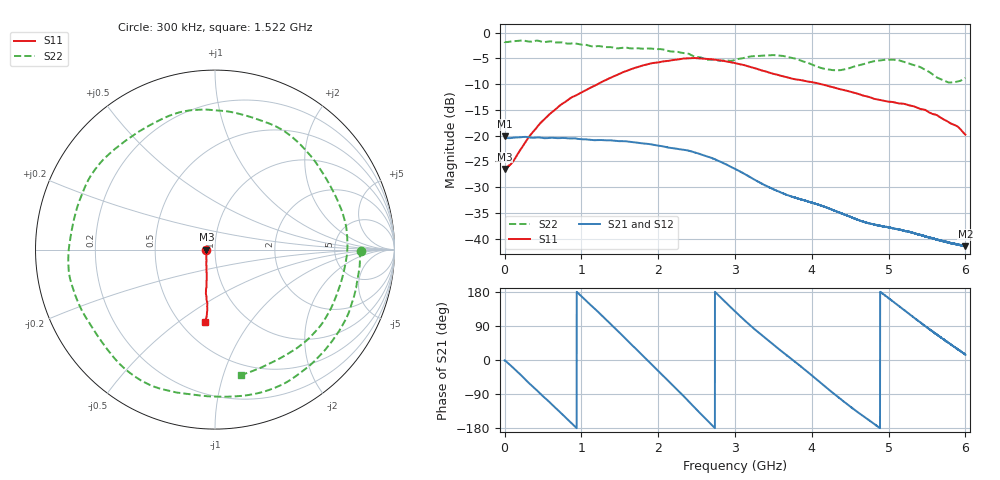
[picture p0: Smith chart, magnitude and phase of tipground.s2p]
!  8/6/2020  03:24:19
! Ref Plane: 0.000 mm
# MHZ S MA R  50
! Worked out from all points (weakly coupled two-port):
!   10001 points, 300 kHz to 6 GHz, reference 50 ohm
!   highest |S21| = -20.10 dB at 300 kHz (marker M1); lowest = -41.4 dB at 5.999 GHz (marker M2)
!   lowest |S11| = -26.5 dB at 300 kHz (marker M3), VSWR 1.10, Z = 45.5 + j0.0408 ohm
!   |S11| at or under -10 dB: start of sweep to 1.212 GHz; 4.124 GHz to end of sweep
!   |S22| runs from -9.7 to -1.5 dB; largest |S21 - S12| = 0.0026
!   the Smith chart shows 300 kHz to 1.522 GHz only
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0.3  0.04747 179.5  0.09889 -1.1  0.0963 -0.9  0.8142 -0.5
296.6852  0.09288 -121.7  0.09702 -56.9  0.09727 -57.0  0.8228 -84.7
598.4701  0.165 -106.3  0.09544 -113.8  0.09566 -113.8  0.8238 -170.4
824.0588  0.2219 -102.8  0.09435 -157.6  0.09457 -157.7  0.7826 124.7
1000.45  0.2625 -100.5  0.09239 168.1  0.09249 168.1  0.7651 74.8
1256.637  0.3302 -97.5  0.09081 119.3  0.09097 119.2  0.7369 -0.3
1545.223  0.4136 -97.8  0.08852 62.5  0.08871 62.4  0.7165 -84.5
1790.011  0.4779 -100.2  0.08442 13.3  0.08467 13.3  0.6998 -151.3
2000.6  0.5146 -103.6  0.08015 -29.0  0.08037 -29.0  0.6925 154.1
2260.987  0.5497 -107.1  0.0744 -81.0  0.07471 -81.1  0.6501 87.7
2545.373  0.5617 -112.8  0.06633 -140.2  0.06641 -140.4  0.5773 9.4
2791.96  0.5387 -116.2  0.05663 169.3  0.05666 169.4  0.5344 -65.8
3000.15  0.5067 -118.2  0.04758 128.4  0.04762 128.3  0.5435 -130.0
3233.538  0.4578 -119.6  0.03824 85.0  0.03824 85.0  0.5912 166.0
3516.724  0.3961 -117.4  0.02982 37.7  0.02977 37.5  0.6042 96.2
4000.3  0.3312 -109.4  0.02247 -40.6  0.02243 -40.5  0.4918 -26.7
4231.888  0.3006 -106.8  0.0196 -79.8  0.01956 -79.8  0.4375 -99.1
4498.875  0.2674 -102.0  0.01641 -122.6  0.01641 -122.6  0.455 175.8
5000.45  0.2139 -90.1  0.01294 163.2  0.01291 163.3  0.5465 49.1
5518.224  0.1703 -81.2  0.01036 83.4  0.01037 83.2  0.4204 -75.0
5999.4  0.1026 -71.2  0.008478 14.3  0.008546 14.6  0.3639 123.8
6000  0.1025 -71.1  0.008481 14.1  0.008502 14.2  0.3641 123.6
